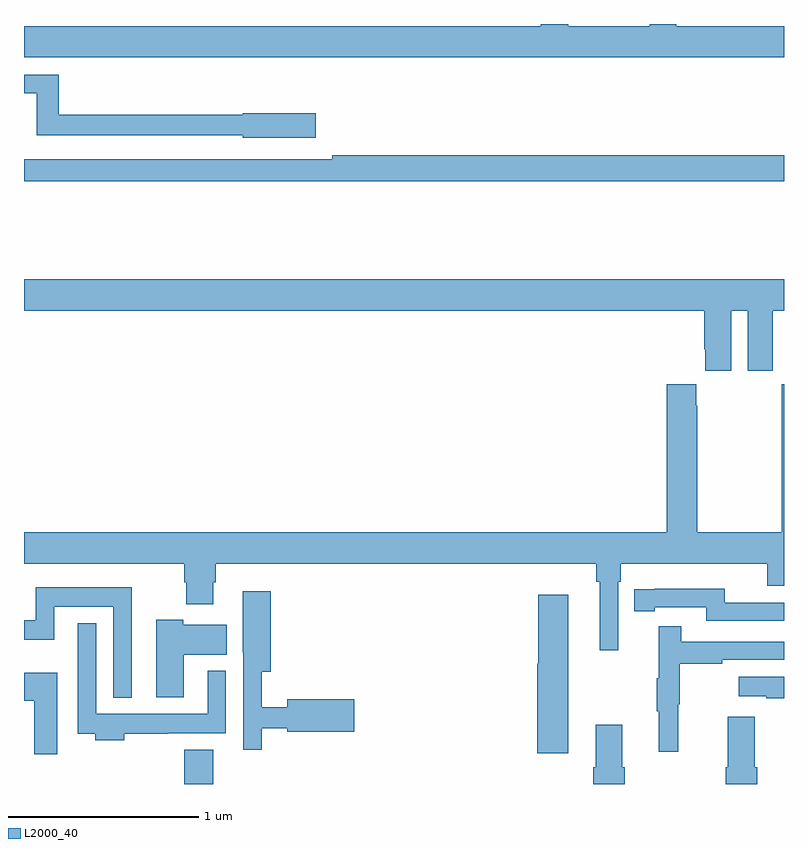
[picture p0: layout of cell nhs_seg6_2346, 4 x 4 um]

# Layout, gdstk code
import gdstk
lib = gdstk.Library(unit=1e-6, precision=1e-09)
def R(c, l, rs):  # rectangles x0, y0, x1, y1
    for r in rs: c.add(gdstk.rectangle(r[:2], r[2:], *l))
def P(c, l, *ps):  # polygons
    for p in ps: c.add(gdstk.Polygon(p, *l))
L2000_40 = (2000, 40)

nhs_seg6_2346 = lib.new_cell('nhs_seg6_2346')
R(nhs_seg6_2346, L2000_40, [(251.843,955.5,251.995,955.681)])
P(nhs_seg6_2346, L2000_40, [(255,959.488),(254.434,959.488),(254.434,959.5),(254.294,959.5),(254.294,959.488),(253.864,959.488),(253.864,959.5),(253.721,959.5),(253.721,959.488),(251,959.488),(251,959.324),(255,959.324)],
  [(252.535,959.031),(252.15,959.031),(252.15,959.023),(251.183,959.023),(251.183,959.232),(251,959.232),(251,959.136),(251.067,959.136),(251.067,958.914),(252.15,958.914),(252.15,958.901),(252.535,958.901)],
  [(255,958.808),(252.622,958.808),(252.622,958.788),(251,958.788),(251,958.672),(255,958.672)],
  [(254.722,957.992),(254.81,957.992),(254.81,957.675),(254.941,957.675),(254.941,957.992),(255,957.992),(255,958.156),(251,958.156),(251,957.992),(254.579,957.992),(254.579,957.787),(254.585,957.787),(254.585,957.675),(254.722,957.675)],
  [(254.127,956.564),(254.141,956.564),(254.141,956.66),(254.912,956.66),(254.912,956.543),(255,956.543),(255,957.604),(254.989,957.604),(254.989,956.824),(254.544,956.824),(254.544,957.491),(254.539,957.491),(254.539,957.604),(254.384,957.604),(254.384,956.824),(251,956.824),(251,956.66),(251.843,956.66),(251.843,956.561),(251.855,956.561),(251.855,956.445),(251.995,956.445),(251.995,956.561),(252.008,956.561),(252.008,956.66),(254.011,956.66),(254.011,956.564),(254.03,956.564),(254.03,956.205),(254.127,956.205)],
  [(251.566,956.536),(251.063,956.536),(251.063,956.362),(251,956.362),(251,956.258),(251.16,956.258),(251.16,956.432),(251.469,956.432),(251.469,955.955),(251.566,955.955)],
  [(255,956.454),(254.688,956.454),(254.688,956.527),(254.32,956.527),(254.32,956.526),(254.212,956.526),(254.212,956.41),(254.32,956.41),(254.32,956.43),(254.592,956.43),(254.592,956.358),(255,956.358)],
  [(252.25,955.794),(252.386,955.794),(252.386,955.775),(252.739,955.775),(252.739,955.946),(252.386,955.946),(252.386,955.904),(252.25,955.904),(252.25,956.09),(252.299,956.09),(252.299,956.515),(252.152,956.515),(252.152,956.194),(252.153,956.194),(252.153,955.68),(252.25,955.68)],
  [(253.864,956.497),(253.706,956.497),(253.706,956.133),(253.7,956.133),(253.7,955.662),(253.864,955.662)],
  [(251.842,956.18),(252.067,956.18),(252.067,956.338),(251.838,956.338),(251.838,956.365),(251.696,956.365),(251.696,955.956),(251.842,955.956)],
  [(251.528,955.764),(251.759,955.764),(251.759,955.766),(252.063,955.766),(252.063,956.095),(251.967,956.095),(251.967,955.87),(251.379,955.87),(251.379,956.347),(251.283,956.347),(251.283,955.764),(251.375,955.764),(251.375,955.73),(251.528,955.73)],
  [(254.444,955.92),(254.452,955.92),(254.452,956.134),(254.675,956.134),(254.675,956.154),(255,956.154),(255,956.25),(254.459,956.25),(254.459,956.329),(254.342,956.329),(254.342,956.057),(254.331,956.057),(254.331,955.883),(254.342,955.883),(254.342,955.671),(254.444,955.671)],
  [(251.176,956.086),(251,956.086),(251,955.939),(251.054,955.939),(251.054,955.656),(251.176,955.656)],
  [(255,956.065),(254.763,956.065),(254.763,955.961),(254.906,955.961),(254.906,955.951),(255,955.951)],
  [(254.858,955.588),(254.845,955.588),(254.845,955.855),(254.705,955.855),(254.705,955.588),(254.693,955.588),(254.693,955.5),(254.858,955.5)],
  [(254.162,955.588),(254.149,955.588),(254.149,955.813),(254.009,955.813),(254.009,955.588),(253.997,955.588),(253.997,955.5),(254.162,955.5)])

lib.write_gds('nhs_seg6_2346.gds')
